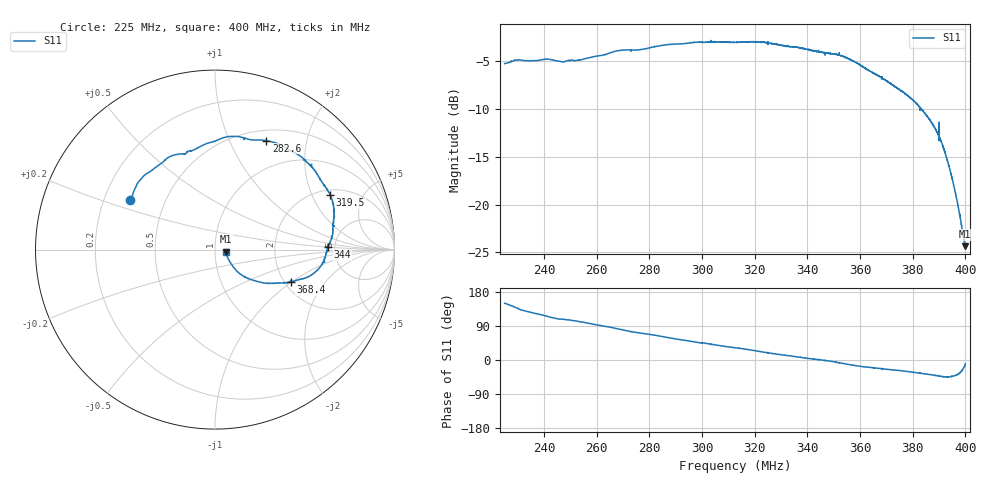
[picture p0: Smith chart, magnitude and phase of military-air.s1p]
! Calibrated averaged scanner-service zoom
# Hz S RI R 50
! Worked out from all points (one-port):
!   10001 points, 225 MHz to 400 MHz, reference 50 ohm
!   lowest |S11| = -24.4 dB at 400 MHz (marker M1), VSWR 1.13, Z = 56.3 - j1.23 ohm
!   |S11| at or under -10 dB: 382.7539 MHz to 382.7714 MHz (17.55 kHz wide, 0.00458 % of centre); 383.2 MHz to end of sweep
!   S11 on the Smith chart (normalised r, x): 225 MHz: 0.31, +0.25; 282.6 MHz: 0.63, +1.38; 319.5 MHz: 2.26, +2.76; 344 MHz: 4.38, +0.18; 368.4 MHz: 2.15, -0.98; 400 MHz: 1.13, -0.02
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2.25e8  -0.4712 0.2746
2.2836e8  -0.4398 0.3521
2.3165e8  -0.3783 0.4247
2.41625e8  -0.2372 0.5238
2.44915e8  -0.1823 0.5336
2.46875e8  -0.1715 0.5305
2.556425e8  -0.0872 0.5718
2.6875e8  0.101 0.6311
2.825925e8  0.2865 0.6068
2.90625e8  0.3985 0.5643
2.991125e8  0.496 0.5037
3.125e8  0.5946 0.3777
3.19535e8  0.6422 0.3028
3.250475e8  0.6528 0.2333
3.34375e8  0.6566 0.1149
3.440175e8  0.629 0.0125
3.512625e8  0.6043 -0.0657
3.5625e8  0.5587 -0.1241
3.607475e8  0.5051 -0.1576
3.683775e8  0.4208 -0.1795
3.78125e8  0.3196 -0.1879
3.85895e8  0.2242 -0.1745
3.908825e8  0.1543 -0.1458
3.951175e8  0.0984 -0.0911
3.9699e8  0.0802 -0.0632
3.99265e8  0.0626 -0.0244
3.999825e8  0.0596 -0.0109
4e8  0.0596 -0.0106
